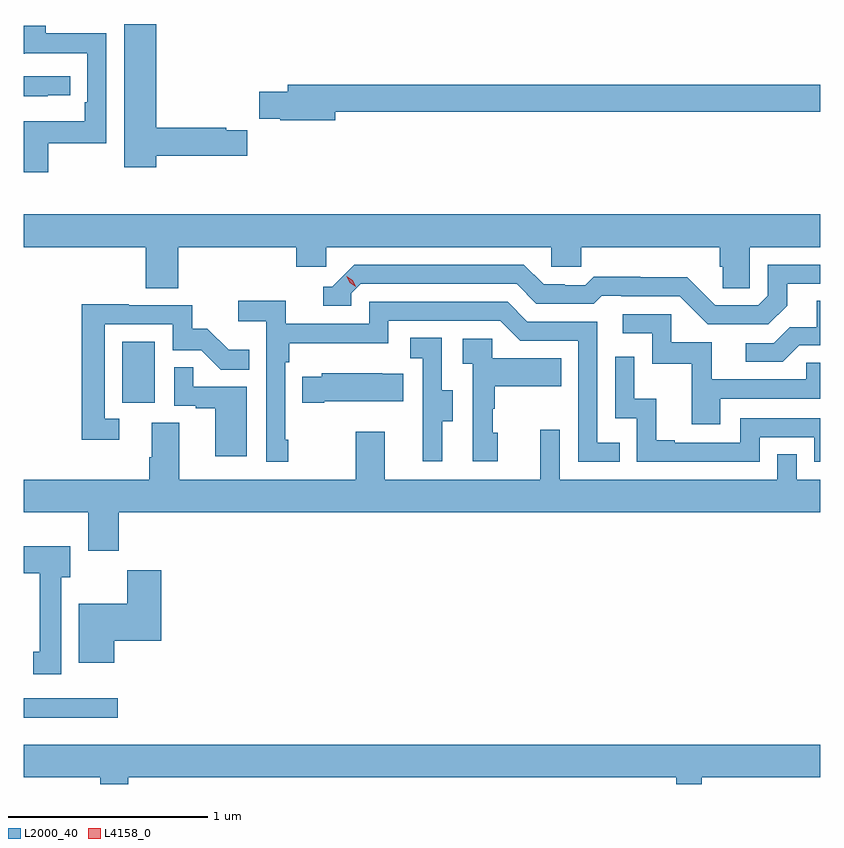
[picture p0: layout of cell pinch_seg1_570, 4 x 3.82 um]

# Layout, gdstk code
import gdstk
lib = gdstk.Library(unit=1e-6, precision=1e-09)
def R(c, l, rs):  # rectangles x0, y0, x1, y1
    for r in rs: c.add(gdstk.rectangle(r[:2], r[2:], *l))
def P(c, l, *ps):  # polygons
    for p in ps: c.add(gdstk.Polygon(p, *l))
L2000_40 = (2000, 40)
L4158_0 = (4158, 0)

pinch_seg1_570 = lib.new_cell('pinch_seg1_570')
R(pinch_seg1_570, L2000_40, [(1041.282,517.4,1041.754,517.497), (1041.776,518.982,1041.94,519.289)])
P(pinch_seg1_570, L2000_40, [(1041.946,520.222),(1042.403,520.222),(1042.403,520.352),(1042.298,520.352),(1042.298,520.364),(1041.946,520.364),(1041.946,520.885),(1041.785,520.885),(1041.785,520.164),(1041.946,520.164)],
  [(1041.403,520.287),(1041.696,520.287),(1041.696,520.838),(1041.391,520.838),(1041.391,520.876),(1041.282,520.876),(1041.282,520.736),(1041.287,520.736),(1041.287,520.737),(1041.6,520.737),(1041.6,520.492),(1041.587,520.492),(1041.587,520.396),(1041.282,520.396),(1041.282,520.14),(1041.403,520.14)],
  [(1041.401,520.527),(1041.514,520.527),(1041.514,520.623),(1041.282,520.623),(1041.282,520.522),(1041.401,520.522)],
  [(1042.846,520.444),(1045.282,520.444),(1045.282,520.58),(1042.607,520.58),(1042.607,520.544),(1042.465,520.544),(1042.465,520.41),(1042.57,520.41),(1042.57,520.402),(1042.846,520.402)],
  [(1042.058,519.764),(1042.649,519.764),(1042.649,519.666),(1042.8,519.666),(1042.8,519.764),(1043.931,519.764),(1043.931,519.666),(1044.081,519.666),(1044.081,519.764),(1044.779,519.764),(1044.779,519.666),(1044.793,519.666),(1044.793,519.556),(1044.93,519.556),(1044.93,519.764),(1045.282,519.764),(1045.282,519.928),(1041.282,519.928),(1041.282,519.764),(1041.893,519.764),(1041.893,519.556),(1042.058,519.556)],
  [(1045.117,519.469),(1045.117,519.579),(1045.282,519.579),(1045.282,519.675),(1045.02,519.675),(1045.02,519.519),(1044.972,519.471),(1044.756,519.471),(1044.614,519.613),(1044.378,519.613),(1044.378,519.616),(1044.145,519.616),(1044.103,519.573),(1044,519.573),(1044,519.576),(1043.893,519.576),(1043.794,519.675),(1042.941,519.675),(1042.83,519.564),(1042.787,519.564),(1042.787,519.468),(1042.926,519.468),(1042.926,519.531),(1042.974,519.579),(1043.757,519.579),(1043.856,519.48),(1044.145,519.48),(1044.184,519.519),(1044.283,519.519),(1044.283,519.516),(1044.576,519.516),(1044.717,519.375),(1045.023,519.375)],
  [(1042.609,518.797),(1042.596,518.797),(1042.596,519.185),(1042.616,519.185),(1042.616,519.281),(1043.112,519.281),(1043.112,519.393),(1043.676,519.393),(1043.775,519.294),(1044.066,519.294),(1044.066,518.685),(1044.275,518.685),(1044.275,518.781),(1044.162,518.781),(1044.162,519.39),(1043.812,519.39),(1043.713,519.489),(1043.016,519.489),(1043.016,519.378),(1042.598,519.378),(1042.598,519.494),(1042.359,519.494),(1042.359,519.392),(1042.5,519.392),(1042.5,518.685),(1042.609,518.685)],
  [(1045.177,519.27),(1045.282,519.27),(1045.282,519.494),(1045.265,519.494),(1045.265,519.362),(1045.13,519.362),(1045.05,519.282),(1044.909,519.282),(1044.909,519.189),(1045.096,519.189)],
  [(1041.76,518.901),(1041.687,518.901),(1041.687,519.375),(1042.029,519.375),(1042.029,519.246),(1042.173,519.246),(1042.271,519.148),(1042.415,519.148),(1042.415,519.247),(1042.311,519.247),(1042.204,519.354),(1042.128,519.354),(1042.128,519.471),(1041.809,519.471),(1041.809,519.476),(1041.571,519.476),(1041.571,518.796),(1041.76,518.796)],
  [(1044.781,519.003),(1045.282,519.003),(1045.282,519.183),(1045.213,519.183),(1045.213,519.099),(1044.739,519.099),(1044.739,519.285),(1044.534,519.285),(1044.534,519.426),(1044.291,519.426),(1044.291,519.33),(1044.438,519.33),(1044.438,519.177),(1044.637,519.177),(1044.637,518.874),(1044.781,518.874)],
  [(1043.383,518.89),(1043.437,518.89),(1043.437,519.045),(1043.382,519.045),(1043.382,519.308),(1043.223,519.308),(1043.223,519.205),(1043.286,519.205),(1043.286,518.901),(1043.285,518.901),(1043.285,518.688),(1043.383,518.688)],
  [(1043.662,518.832),(1043.637,518.832),(1043.637,518.951),(1043.647,518.951),(1043.647,519.065),(1043.981,519.065),(1043.981,519.205),(1043.634,519.205),(1043.634,519.303),(1043.487,519.303),(1043.487,519.179),(1043.538,519.179),(1043.538,518.688),(1043.662,518.688)],
  [(1044.978,518.808),(1045.254,518.808),(1045.254,518.685),(1045.282,518.685),(1045.282,518.904),(1044.882,518.904),(1044.882,518.781),(1044.553,518.781),(1044.553,518.794),(1044.458,518.794),(1044.458,519.002),(1044.348,519.002),(1044.348,519.214),(1044.252,519.214),(1044.252,518.904),(1044.36,518.904),(1044.36,518.685),(1044.978,518.685)],
  [(1042.402,519.063),(1042.133,519.063),(1042.133,519.161),(1042.038,519.161),(1042.038,518.967),(1042.145,518.967),(1042.145,518.955),(1042.244,518.955),(1042.244,518.712),(1042.402,518.712)],
  [(1042.792,518.99),(1043.189,518.99),(1043.189,519.127),(1043.081,519.127),(1043.081,519.13),(1042.779,519.13),(1042.779,519.112),(1042.681,519.112),(1042.681,518.983),(1042.792,518.983)],
  [(1045.068,518.723),(1045.068,518.596),(1043.973,518.596),(1043.973,518.845),(1043.876,518.845),(1043.876,518.596),(1043.095,518.596),(1043.095,518.836),(1042.948,518.836),(1042.948,518.596),(1042.063,518.596),(1042.063,518.882),(1041.923,518.882),(1041.923,518.708),(1041.911,518.708),(1041.911,518.596),(1041.282,518.596),(1041.282,518.432),(1041.605,518.432),(1041.605,518.238),(1041.757,518.238),(1041.757,518.432),(1045.282,518.432),(1045.282,518.596),(1045.164,518.596),(1045.164,518.723)],
  [(1041.469,518.106),(1041.514,518.106),(1041.514,518.26),(1041.282,518.26),(1041.282,518.126),(1041.362,518.126),(1041.362,517.73),(1041.329,517.73),(1041.329,517.617),(1041.469,517.617)],
  [(1041.736,517.787),(1041.971,517.787),(1041.971,518.14),(1041.8,518.14),(1041.8,517.972),(1041.557,517.972),(1041.557,517.676),(1041.736,517.676)],
  [(1041.805,517.1),(1044.559,517.1),(1044.559,517.066),(1044.688,517.066),(1044.688,517.1),(1045.282,517.1),(1045.282,517.264),(1041.282,517.264),(1041.282,517.1),(1041.665,517.1),(1041.665,517.066),(1041.805,517.066)])
P(pinch_seg1_570, L4158_0, [(1042.949,519.565),(1042.919,519.584),(1042.903,519.617),(1042.903,519.617),(1042.903,519.617),(1042.934,519.598),(1042.95,519.565),(1042.95,519.565)])

lib.write_gds('pinch_seg1_570.gds')
